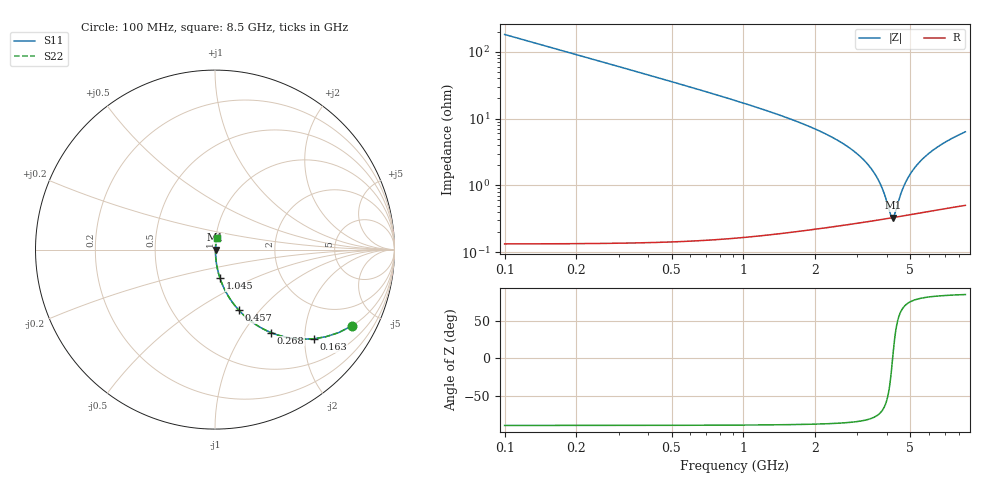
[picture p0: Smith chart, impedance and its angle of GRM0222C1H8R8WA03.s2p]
!Murata Part Number: GRM0222C1H8R8WA03
!These Parameters are Measured in Series Mode Connection
!Data Generated on Mar 30, 2021
!  o--ll--o
!Port1  Port2
!  o------o
!Operation Temp=25[degC], DC Bias Voltage=0[V]
!Freq. Start=100[MHz] Stop=9[GHz] 401[Steps]
# Hz S RI R 50
!Freq.(Hz) S11(Real) S11(Imag) S21(Real) S21(Imag) S12(Real) S12(Imag) S22(Real) S22(Imag)
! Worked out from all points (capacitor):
!   401 points, 100 MHz to 8.5 GHz, reference 50 ohm
!   read as one part in series: C = 8.8 pF near 142 MHz
!   lowest |Z| = 329 mohm at 4.216 GHz (marker M1)
!   series resonance near 4.214 GHz, so ESL is about 160 pH
!   S11 on the Smith chart (normalised r, x): 100 MHz: 1.00, -3.61; 163 MHz: 1.00, -2.22; 268 MHz: 1.00, -1.34; 457 MHz: 1.00, -0.78; 1.045 GHz: 1.00, -0.32; 8.5 GHz: 1.01, +0.13
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1e8  0.7655 -0.4233  0.2345 0.4233  0.2345 0.4233  0.7655 -0.4233
1.63e8  0.5509 -0.4968  0.4491 0.4968  0.4491 0.4968  0.5509 -0.4968
2.68e8  0.3114 -0.4621  0.6886 0.4621  0.6886 0.4621  0.3114 -0.4621
3.52e8  0.2071 -0.4038  0.7929 0.4038  0.7929 0.4038  0.2071 -0.4038
4.57e8  0.1334 -0.3382  0.8666 0.3382  0.8666 0.3382  0.1334 -0.3382
6.88e8  0.0625 -0.2392  0.9375 0.2392  0.9375 0.2392  0.0625 -0.2392
1.045e9  0.0271 -0.1573  0.9729 0.1573  0.9729 0.1573  0.0271 -0.1573
1.507e9  0.0126 -0.1026  0.9874 0.1026  0.9874 0.1026  0.0126 -0.1026
2.914e9  0.00368 -0.0318  0.9963 0.0318  0.9963 0.0318  0.00368 -0.0318
3.313e9  0.00328 -0.0204  0.9967 0.0204  0.9967 0.0204  0.00328 -0.0204
3.628e9  0.00317 -0.0126  0.9968 0.0126  0.9968 0.0126  0.00317 -0.0126
3.859e9  0.00317 -0.00741  0.9968 0.00741  0.9968 0.00741  0.00317 -0.00741
4.132e9  0.00325 -0.00166  0.9968 0.00166  0.9968 0.00166  0.00325 -0.00166
4.216e9  0.00328 3.19e-05  0.9967 -3.19e-05  0.9967 -3.19e-05  0.00328 3.19e-05
4.3e9  0.00332 0.00168  0.9967 -0.00168  0.9967 -0.00168  0.00332 0.00168
4.573e9  0.00349 0.00684  0.9965 -0.00684  0.9965 -0.00684  0.00349 0.00684
4.846e9  0.00371 0.0117  0.9963 -0.0117  0.9963 -0.0117  0.00371 0.0117
5.224e9  0.00406 0.018  0.9959 -0.018  0.9959 -0.018  0.00406 0.018
5.707e9  0.00461 0.0256  0.9954 -0.0256  0.9954 -0.0256  0.00461 0.0256
6.337e9  0.00542 0.0347  0.9946 -0.0347  0.9946 -0.0347  0.00542 0.0347
7.114e9  0.00657 0.0452  0.9934 -0.0452  0.9934 -0.0452  0.00657 0.0452
8.5e9  0.00892 0.0622  0.9911 -0.0622  0.9911 -0.0622  0.00892 0.0622
